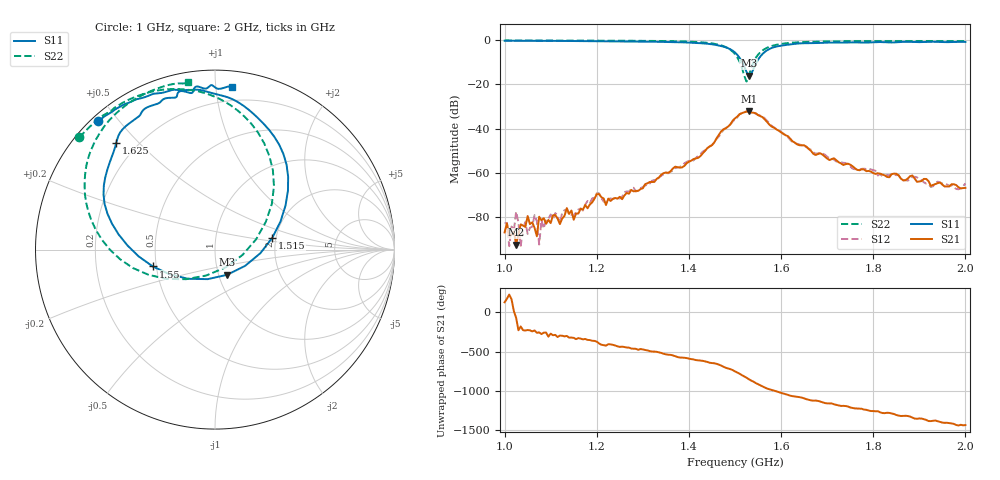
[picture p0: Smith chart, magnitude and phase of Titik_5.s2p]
# Hz S RI R 50
! CMT, C1220, 16058040, 17.2.0/1
! Date: 14/08/2018 11:43:15
! Data: Format (Calibration Info)
! Freq  S11: Re/Im (F2)  S21: Re/Im (F2)  S12: Re/Im (F2)  S22: Re/Im (F2)
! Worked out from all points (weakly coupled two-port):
!   201 points, 1 GHz to 2 GHz, reference 50 ohm
!   highest |S21| = -32.22 dB at 1.53 GHz (marker M1); lowest = -92.5 dB at 1.025 GHz (marker M2)
!   lowest |S11| = -16.1 dB at 1.53 GHz (marker M3), VSWR 1.37, Z = 54.9 - j15.8 ohm
!   |S11| at or under -10 dB: 1.516 GHz to 1.547 GHz (31.48 MHz wide, 2.06 % of centre)
!   |S22| runs from -18.8 to -0.2 dB; largest |S21 - S12| = 0.001
!   S11 on the Smith chart (normalised r, x): 1 GHz: 0.02, +0.44; 1.515 GHz: 1.91, +0.28; 1.55 GHz: 0.48, -0.10; 1.625 GHz: 0.12, +0.43; 2 GHz: 0.11, +1.11
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1e9  -0.6493 0.7153  -2.53e-05 3.7e-05  -7.29e-05 3.85e-06  -0.7551 0.6246
1.025e9  -0.6257 0.7349  7.02e-06 -2.26e-05  -9.44e-05 9.19e-05  -0.7383 0.6438
1.125e9  -0.52 0.8018  4.59e-05 8.02e-05  0.000101 7.57e-05  -0.661 0.7179
1.135e9  -0.507 0.8083  8.49e-05 0.000134  0.000124 7.35e-05  -0.6524 0.7255
1.15e9  -0.4939 0.8135  7.24e-05 4.73e-05  0.000106 -5.3e-06  -0.6383 0.7361
1.17e9  -0.4707 0.8226  0.000142 3.65e-05  0.000136 3.34e-05  -0.6182 0.7508
1.2e9  -0.4286 0.8395  0.000315 -8.64e-05  0.000326 -0.00011  -0.5838 0.7647
1.22e9  -0.4067 0.8447  7.89e-05 -0.000169  0.000144 -0.000156  -0.5731 0.7782
1.335e9  -0.2074 0.889  -0.000681 -0.000392  -0.000693 -0.00035  -0.4009 0.8664
1.45e9  0.185 0.7814  0.00117 0.00404  0.00141 0.00404  0.0227 0.8409
1.5e9  0.4066 0.3299  0.0145 -0.00888  0.0136 -0.00842  0.3287 0.3525
1.515e9  0.3196 0.0661  0.0041 -0.0219  0.00462 -0.022  0.2294 0.0579
1.525e9  0.1676 -0.0907  -0.009 -0.0225  -0.00903 -0.0226  0.0584 -0.0996
1.53e9  0.0676 -0.1404  -0.016 -0.0185  -0.0161 -0.0186  -0.0495 -0.1446
1.55e9  -0.3468 -0.0939  -0.0196 0.00486  -0.0197 0.00412  -0.4567 -0.1029
1.58e9  -0.6151 0.2537  -0.000679 0.011  -0.000268 0.0114  -0.7058 0.2123
1.625e9  -0.5497 0.5956  0.00498 0.00131  0.00473 0.00137  -0.7034 0.519
1.67e9  -0.4327 0.735  0.00198 -0.00181  0.00216 -0.00191  -0.6272 0.6715
1.835e9  -0.137 0.8724  -0.000755 0.000242  -0.000794 0.000374  -0.3773 0.8746
1.885e9  -0.0768 0.9026  -0.000198 0.000844  -0.000315 0.000741  -0.3059 0.9029
1.925e9  -0.0204 0.9165  0.000266 0.000432  0.000194 0.000439  -0.2507 0.9191
2e9  0.0964 0.9032  0.000451 6.18e-05  0.000568 7.71e-05  -0.1516 0.9344
